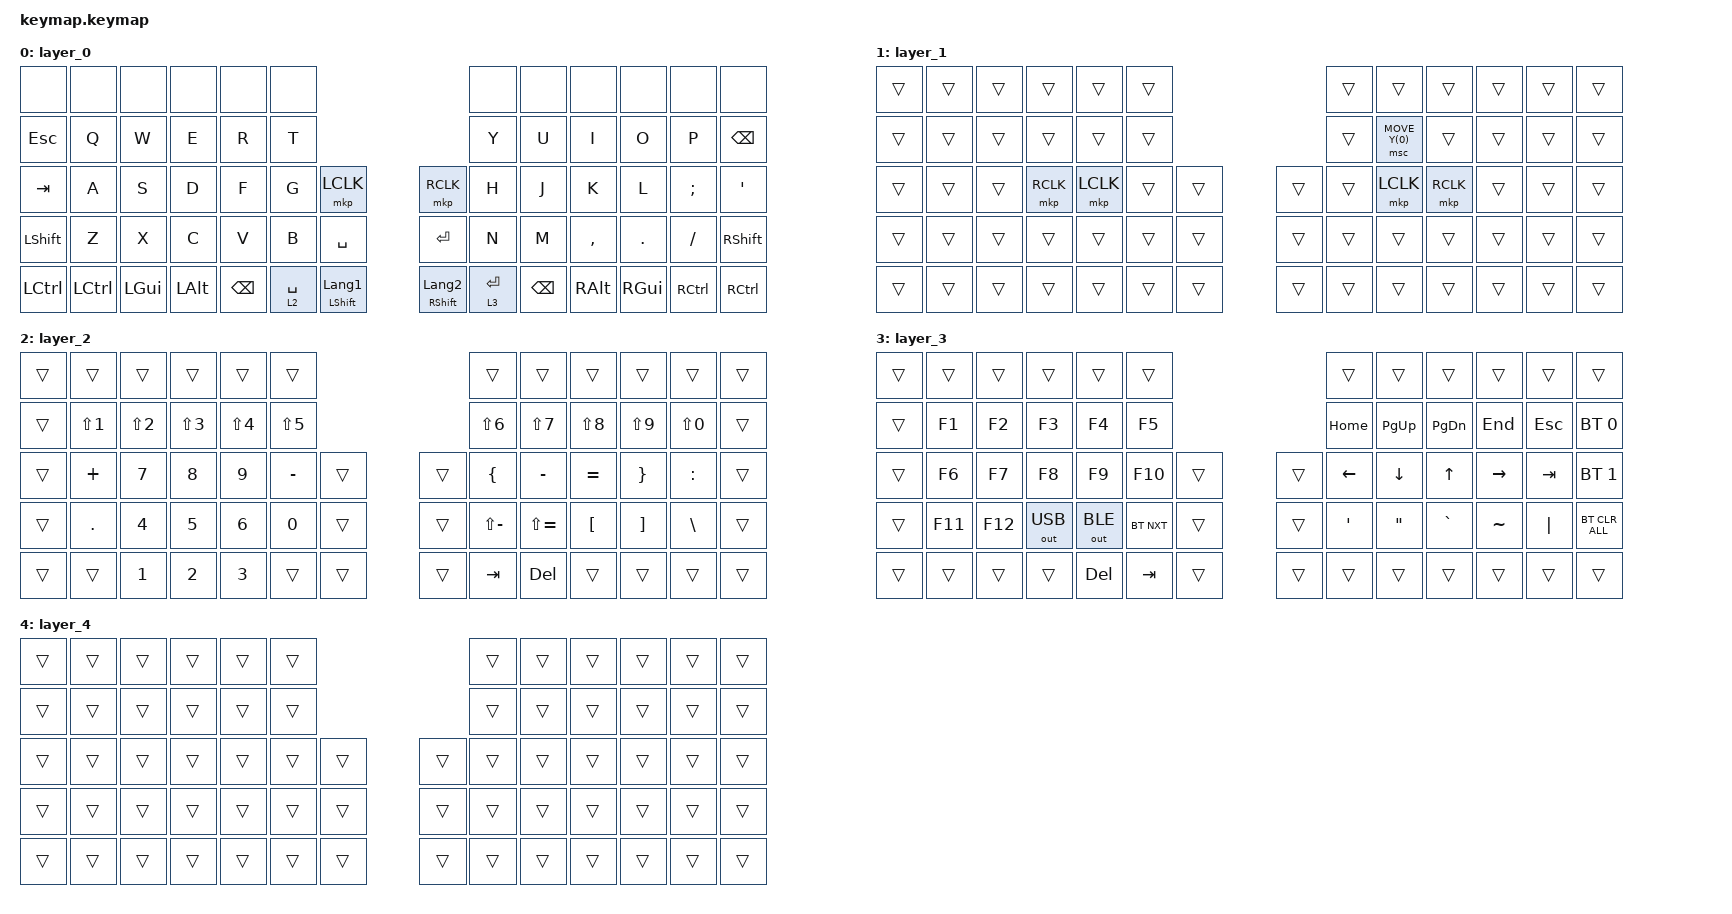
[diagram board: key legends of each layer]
#include <behaviors.dtsi>
#include <dt-bindings/zmk/bt.h>
#include <dt-bindings/zmk/keys.h>
#include <dt-bindings/zmk/outputs.h>
#include <dt-bindings/zmk/pointing.h>

/ {
    combos {
        compatible = "zmk,combos";

        bt_clear {
            bindings = <&bt BT_CLR>;
            key-positions = <28 29>;
            layers = <2>;
        };
    };

    behaviors {
        new_behavior: new_behavior {
            compatible = "zmk,behavior-mouse-key-press";
            label = "NEW_BEHAVIOR";
            #binding-cells = <1>;
        };
    };

    keymap {
        compatible = "zmk,keymap";

        layer_0 {
            bindings = <
&none      &none      &none     &none     &none     &none                                                          &none        &none     &none      &none     &none      &none
&kp ESC    &kp Q      &kp W     &kp E     &kp R     &kp T                                                          &kp Y        &kp U     &kp I      &kp O     &kp P      &kp BSPC
&kp TAB    &kp A      &kp S     &kp D     &kp F     &kp G        &mkp LCLK                  &mkp RCLK              &kp H        &kp J     &kp K      &kp L     &kp SEMI   &kp SQT
&kp LSHFT  &kp Z      &kp X     &kp C     &kp V     &kp B        &kp SPACE                  &kp RET                &kp N        &kp M     &kp COMMA  &kp DOT   &kp FSLH   &kp RSHFT
&kp LCTRL  &kp LCTRL  &kp LGUI  &kp LALT  &kp BSPC  &lt 2 SPACE  &mt LEFT_SHIFT LANGUAGE_1  &mt RSHIFT LANGUAGE_2  &lt 3 ENTER  &kp BSPC  &kp RALT   &kp RGUI  &kp RCTRL  &kp RCTRL
            >;
        };

        layer_1 {
            bindings = <
&trans  &trans  &trans  &trans     &trans     &trans                  &trans  &trans          &trans     &trans  &trans  &trans
&trans  &trans  &trans  &trans     &trans     &trans                  &trans  &msc MOVE_Y(0)  &trans     &trans  &trans  &trans
&trans  &trans  &trans  &mkp RCLK  &mkp LCLK  &trans  &trans  &trans  &trans  &mkp LCLK       &mkp RCLK  &trans  &trans  &trans
&trans  &trans  &trans  &trans     &trans     &trans  &trans  &trans  &trans  &trans          &trans     &trans  &trans  &trans
&trans  &trans  &trans  &trans     &trans     &trans  &trans  &trans  &trans  &trans          &trans     &trans  &trans  &trans
            >;
        };

        layer_2 {
            bindings = <
&trans  &trans            &trans            &trans      &trans      &trans                      &trans          &trans         &trans            &trans             &trans         &trans
&trans  &kp LS(NUMBER_1)  &kp LS(NUMBER_2)  &kp LS(N3)  &kp LS(N4)  &kp LS(N5)                  &kp LS(N6)      &kp LS(N7)     &kp LS(N8)        &kp LS(N9)         &kp LS(N0)     &trans
&trans  &kp PLUS          &kp N7            &kp N8      &kp N9      &kp MINUS   &trans  &trans  &kp LEFT_BRACE  &kp MINUS      &kp EQUAL         &kp RIGHT_BRACE    &kp COLON      &trans
&trans  &kp PERIOD        &kp N4            &kp N5      &kp N6      &kp N0      &trans  &trans  &kp LS(MINUS)   &kp LS(EQUAL)  &kp LEFT_BRACKET  &kp RIGHT_BRACKET  &kp BACKSLASH  &trans
&trans  &trans            &kp N1            &kp N2      &kp N3      &trans      &trans  &trans  &kp TAB         &kp DEL        &trans            &trans             &trans         &trans
            >;
        };

        layer_3 {
            bindings = <
&trans  &trans   &trans   &trans        &trans        &trans                      &trans            &trans     &trans         &trans     &trans      &trans
&trans  &kp F1   &kp F2   &kp F3        &kp F4        &kp F5                      &kp HOME          &kp PG_UP  &kp PAGE_DOWN  &kp END    &kp ESCAPE  &bt BT_SEL 0
&trans  &kp F6   &kp F7   &kp F8        &kp F9        &kp F10     &trans  &trans  &kp LEFT          &kp DOWN   &kp UP_ARROW   &kp RIGHT  &kp TAB     &bt BT_SEL 1
&trans  &kp F11  &kp F12  &out OUT_USB  &out OUT_BLE  &bt BT_NXT  &trans  &trans  &kp SINGLE_QUOTE  &kp DQT    &kp GRAVE      &kp TILDE  &kp PIPE    &bt BT_CLR_ALL
&trans  &trans   &trans   &trans        &kp DELETE    &kp TAB     &trans  &trans  &trans            &trans     &trans         &trans     &trans      &trans
            >;
        };

        layer_4 {
            bindings = <
&trans  &trans  &trans  &trans  &trans  &trans                  &trans  &trans  &trans  &trans  &trans  &trans
&trans  &trans  &trans  &trans  &trans  &trans                  &trans  &trans  &trans  &trans  &trans  &trans
&trans  &trans  &trans  &trans  &trans  &trans  &trans  &trans  &trans  &trans  &trans  &trans  &trans  &trans
&trans  &trans  &trans  &trans  &trans  &trans  &trans  &trans  &trans  &trans  &trans  &trans  &trans  &trans
&trans  &trans  &trans  &trans  &trans  &trans  &trans  &trans  &trans  &trans  &trans  &trans  &trans  &trans
            >;
        };
    };
};
